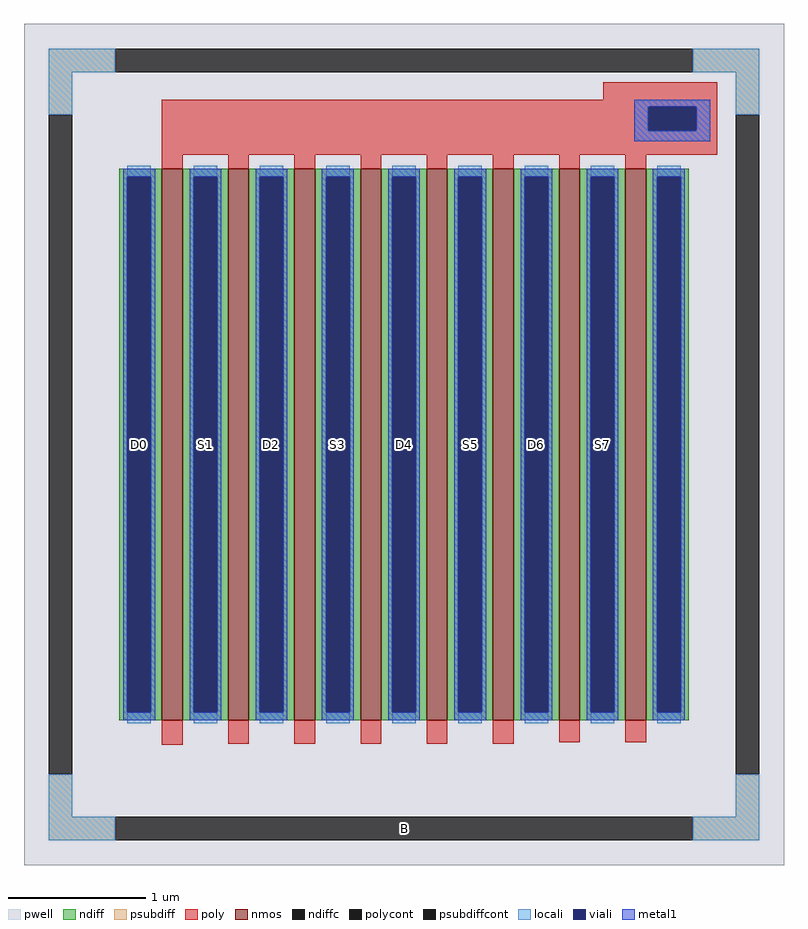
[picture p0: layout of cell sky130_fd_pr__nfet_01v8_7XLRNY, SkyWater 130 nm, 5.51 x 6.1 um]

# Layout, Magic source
magic
tech sky130A
magscale 1 2
<< pwell >>
rect -551 -610 551 610
<< nmos >>
rect -351 -400 -321 400
rect -255 -400 -225 400
rect -159 -400 -129 400
rect -63 -400 -33 400
rect 33 -400 63 400
rect 129 -400 159 400
rect 225 -400 255 400
rect 321 -400 351 400
<< ndiff >>
rect -413 388 -351 400
rect -413 -388 -401 388
rect -367 -388 -351 388
rect -413 -400 -351 -388
rect -321 388 -255 400
rect -321 -388 -305 388
rect -271 -388 -255 388
rect -321 -400 -255 -388
rect -225 388 -159 400
rect -225 -388 -209 388
rect -175 -388 -159 388
rect -225 -400 -159 -388
rect -129 388 -63 400
rect -129 -388 -113 388
rect -79 -388 -63 388
rect -129 -400 -63 -388
rect -33 388 33 400
rect -33 -388 -17 388
rect 17 -388 33 388
rect -33 -400 33 -388
rect 63 388 129 400
rect 63 -388 79 388
rect 113 -388 129 388
rect 63 -400 129 -388
rect 159 388 225 400
rect 159 -388 175 388
rect 209 -388 225 388
rect 159 -400 225 -388
rect 255 388 321 400
rect 255 -388 271 388
rect 305 -388 321 388
rect 255 -400 321 -388
rect 351 388 413 400
rect 351 -388 367 388
rect 401 -388 413 388
rect 351 -400 413 -388
<< ndiffc >>
rect -401 -388 -367 388
rect -305 -388 -271 388
rect -209 -388 -175 388
rect -113 -388 -79 388
rect -17 -388 17 388
rect 79 -388 113 388
rect 175 -388 209 388
rect 271 -388 305 388
rect 367 -388 401 388
<< psubdiff >>
rect -515 540 -419 574
rect 419 540 515 574
rect -515 478 -481 540
rect 481 478 515 540
rect -515 -540 -481 -478
rect 481 -540 515 -478
rect -515 -574 -419 -540
rect 419 -574 515 -540
<< psubdiffcont >>
rect -419 540 419 574
rect -515 -478 -481 478
rect 481 -478 515 478
rect -419 -574 419 -540
<< poly >>
rect 289 500 454 525
rect -351 490 454 500
rect -351 455 354 490
rect 424 455 454 490
rect -351 420 454 455
rect -351 400 -321 420
rect -255 400 -225 420
rect -159 400 -129 420
rect -63 400 -33 420
rect 33 400 63 420
rect 129 400 159 420
rect 225 400 255 420
rect 321 400 351 420
rect -351 -435 -321 -400
rect -255 -434 -225 -400
rect -159 -434 -129 -400
rect -63 -434 -33 -400
rect 33 -434 63 -400
rect 129 -434 159 -400
rect 225 -432 255 -400
rect 321 -432 351 -400
<< polycont >>
rect 354 455 424 490
<< locali >>
rect -515 540 -419 574
rect 419 540 515 574
rect -515 478 -481 540
rect 334 490 444 500
rect 334 455 354 490
rect 424 455 444 490
rect 334 440 444 455
rect 481 478 515 540
rect -401 388 -367 404
rect -401 -404 -367 -388
rect -305 388 -271 404
rect -305 -404 -271 -388
rect -209 388 -175 404
rect -209 -404 -175 -388
rect -113 388 -79 404
rect -113 -404 -79 -388
rect -17 388 17 404
rect -17 -404 17 -388
rect 79 388 113 404
rect 79 -404 113 -388
rect 175 388 209 404
rect 175 -404 209 -388
rect 271 388 305 404
rect 271 -404 305 -388
rect 367 388 401 404
rect 367 -404 401 -388
rect -515 -540 -481 -478
rect 481 -540 515 -478
rect -515 -574 -419 -540
rect 419 -574 515 -540
<< viali >>
rect 354 455 424 490
rect -401 -388 -367 388
rect -305 -388 -271 388
rect -209 -388 -175 388
rect -113 -388 -79 388
rect -17 -388 17 388
rect 79 -388 113 388
rect 175 -388 209 388
rect 271 -388 305 388
rect 367 -388 401 388
<< metal1 >>
rect 334 490 444 500
rect 334 455 354 490
rect 424 455 444 490
rect 334 440 444 455
rect -407 388 -361 400
rect -407 -388 -401 388
rect -367 -388 -361 388
rect -407 -400 -361 -388
rect -311 388 -265 400
rect -311 -388 -305 388
rect -271 -388 -265 388
rect -311 -400 -265 -388
rect -215 388 -169 400
rect -215 -388 -209 388
rect -175 -388 -169 388
rect -215 -400 -169 -388
rect -119 388 -73 400
rect -119 -388 -113 388
rect -79 -388 -73 388
rect -119 -400 -73 -388
rect -23 388 23 400
rect -23 -388 -17 388
rect 17 -388 23 388
rect -23 -400 23 -388
rect 73 388 119 400
rect 73 -388 79 388
rect 113 -388 119 388
rect 73 -400 119 -388
rect 169 388 215 400
rect 169 -388 175 388
rect 209 -388 215 388
rect 169 -400 215 -388
rect 265 388 311 400
rect 265 -388 271 388
rect 305 -388 311 388
rect 265 -400 311 -388
rect 361 388 407 400
rect 361 -388 367 388
rect 401 -388 407 388
rect 361 -400 407 -388
<< labels >>
rlabel psubdiffcont 0 -557 0 -557 0 B
port 1 nsew
rlabel ndiffc -384 0 -384 0 0 D0
port 2 nsew
rlabel ndiffc -288 0 -288 0 0 S1
port 4 nsew
rlabel ndiffc -192 0 -192 0 0 D2
port 6 nsew
rlabel ndiffc -96 0 -96 0 0 S3
port 8 nsew
rlabel ndiffc 0 0 0 0 0 D4
port 10 nsew
rlabel ndiffc 96 0 96 0 0 S5
port 12 nsew
rlabel ndiffc 192 0 192 0 0 D6
port 14 nsew
rlabel ndiffc 288 0 288 0 0 S7
port 16 nsew
<< properties >>
string FIXED_BBOX -498 -557 498 557
string gencell sky130_fd_pr__nfet_01v8
string library sky130
string parameters w 4.0 l 0.15 m 1 nf 8 diffcov 100 polycov 100 guard 1 glc 1 grc 1 gtc 1 gbc 1 tbcov 100 rlcov 100 topc 1 botc 1 poverlap 0 doverlap 1 lmin 0.15 wmin 0.42 class mosfet compatible {sky130_fd_pr__nfet_01v8 sky130_fd_pr__nfet_01v8_lvt  sky130_fd_bs_flash__special_sonosfet_star  sky130_fd_pr__nfet_g5v0d10v5 sky130_fd_pr__nfet_05v0_nvt  sky130_fd_pr__nfet_03v3_nvt} full_metal 1 conn_gates 0 viasrc 100 viadrn 100 viagate 100 viagb 0 viagr 0 viagl 0 viagt 0 doports 1
<< end >>
